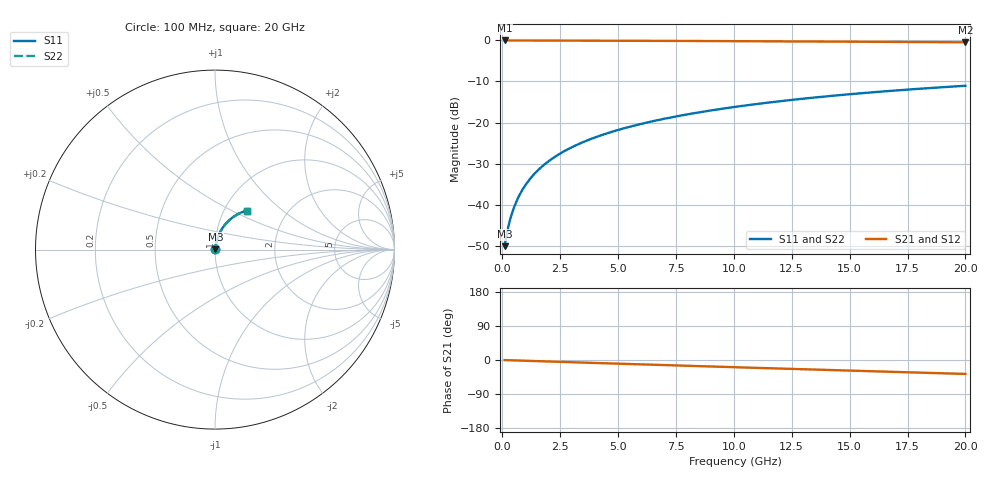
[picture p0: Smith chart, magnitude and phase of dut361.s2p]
! Touchstone file exported from HFSS 2026.1.0
!  File:  C:/ffzhzh/LocalFiles/Ansys_Project_Files/temp_train_TMRDL_361_1783004175_46388.aedt
!  Generated:  10:57:42 PM Jul  2, 2026
!  Design:  TMRDL
!  Project:  temp_train_TMRDL_361_1783004175_46388
! Variables:
!  h_bsmrdl = 2um
!  h_ox = 20um
!  h_rdl = 5um
!  h_sub = 80um
!  h_tmrdl = 5.65um
!  h_tsv = 80um
!  h_via = 3um
!  l_bsmrdl = 300um
!  l_sub = 988.25um
!  l_tmrdl = 588.25um
!  m_sub = 200um
!  pitch = 32.01um
!  r_tsv = 6um
!  s_tmrdl = 10um
!  w_bsmrdl = 18um
!  w_sub = 500um
!  w_tmrdl = 15.39um
!  x_tsv_center1 = 595.945um
!  x_tsv_center2 = 913.945um
!  x_tsv_center3 = 1517.585um
!  x_tsv_center4 = 1835.585um
!  x_tsv_center5 = 2439.225um
!  x_tsv_center6 = 2757.225um
# GHz S MA R 50.000000
! Terminal data exported
! Port[1] = TM_RDL1_1_T1
! Port[2] = TM_RDL1_1_T2
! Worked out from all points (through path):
!   200 points, 100 MHz to 20 GHz, reference 50 ohm
!   highest |S21| = -0.02 dB at 100 MHz (marker M1); lowest = -0.5 dB at 20 GHz (marker M2)
!   group delay of S21, straight-line fit = 5.1 ps
!   lowest |S11| = -50.1 dB at 100 MHz (marker M3), VSWR 1.01, Z = 50.3 + j0.188 ohm
!   |S11| at or under -10 dB: start of sweep to end of sweep
!   |S22| runs from -50.1 to -11.0 dB; largest |S21 - S12| = 3.1e-15
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0.1  0.003134 36.6  0.9975 -0.2  0.9975 -0.2  0.003134 36.6
! Gamma 0 0 0 0
! Port Impedance 50 0 50 0
0.2  0.00451 53.7  0.9973 -0.4  0.9973 -0.4  0.00451 53.7
0.3  0.006026 62.1  0.9972 -0.6  0.9972 -0.6  0.006026 62.1
0.4  0.007587 67.1  0.9971 -0.8  0.9971 -0.8  0.007587 67.1
0.5  0.009178 70.5  0.997 -1.0  0.997 -1.0  0.009178 70.5
0.6  0.01079 72.8  0.997 -1.2  0.997 -1.2  0.01079 72.8
0.8  0.01406 75.8  0.9968 -1.6  0.9968 -1.6  0.01406 75.8
1.1  0.01901 78.0  0.9966 -2.2  0.9966 -2.2  0.01901 78.0
1.3  0.02232 78.8  0.9964 -2.6  0.9964 -2.6  0.02232 78.8
1.6  0.02728 79.3  0.9961 -3.2  0.9961 -3.2  0.02728 79.3
2.1  0.0355 79.5  0.9954 -4.1  0.9954 -4.1  0.0355 79.5
2.7  0.04524 79.0  0.9945 -5.3  0.9945 -5.3  0.04524 79.0
3.5  0.05799 78.0  0.9931 -6.8  0.9931 -6.8  0.05799 78.0
4.2  0.06895 77.0  0.9918 -8.2  0.9918 -8.2  0.06895 77.0
5  0.08127 75.8  0.9902 -9.7  0.9902 -9.7  0.08127 75.7
5.9  0.09491 74.3  0.9883 -11.4  0.9883 -11.4  0.09491 74.3
6.8  0.1083 72.8  0.9864 -13.1  0.9864 -13.1  0.1083 72.8
8.3  0.1303 70.4  0.9829 -15.8  0.9829 -15.8  0.1303 70.3
10.1  0.1558 67.4  0.9783 -19.2  0.9783 -19.2  0.1558 67.3
13.4  0.2006 61.8  0.9689 -25.2  0.9689 -25.2  0.2006 61.8
16.7  0.2422 56.2  0.9585 -31.0  0.9585 -31.0  0.2422 56.2
20  0.2803 50.7  0.9474 -36.8  0.9474 -36.8  0.2803 50.7
